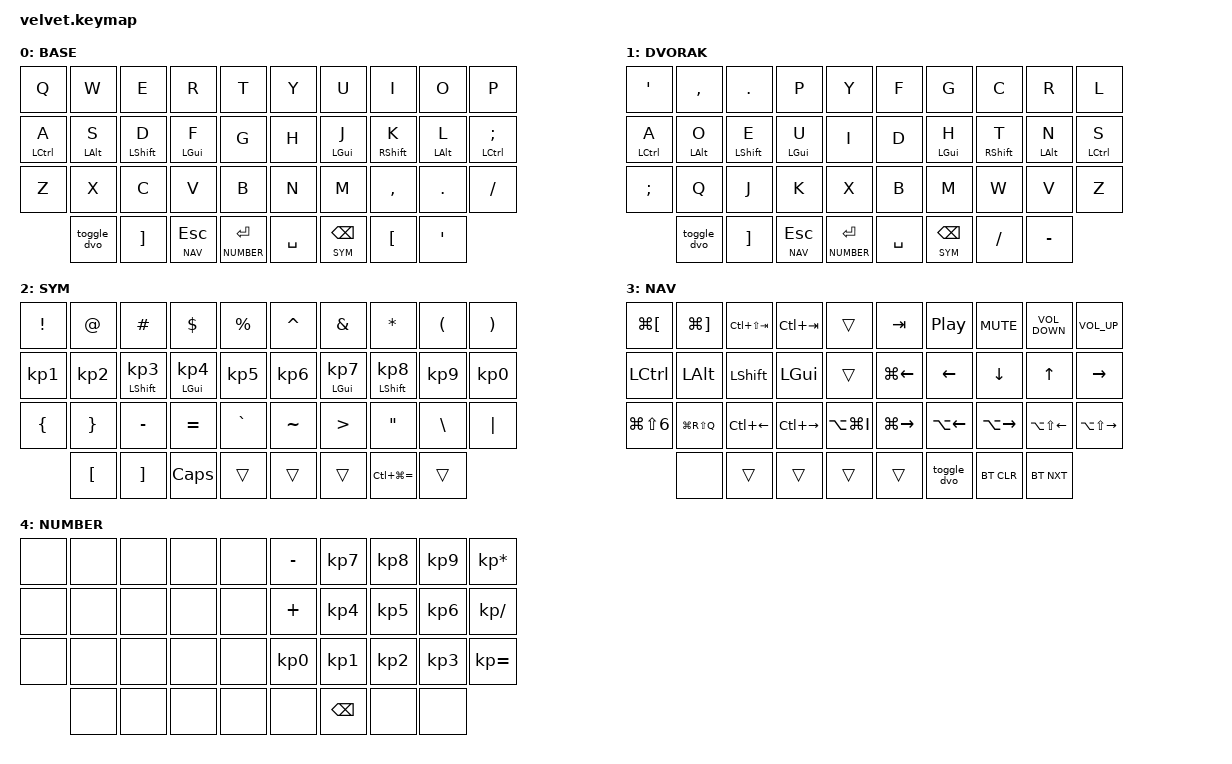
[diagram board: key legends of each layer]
#include <behaviors.dtsi>
#include <dt-bindings/zmk/bt.h>
#include <dt-bindings/zmk/keys.h>

#define BASE 0
#define DVORAK 1
#define SYM 2
#define NAV 3
#define NUMBER 4

&mt {
    tapping-term-ms = <300>;
    require-prior-idle-ms = <125>;
    quick-tap-ms = <200>;
};

&lt { tapping-term-ms = <125>; };

/ {
    behaviors {
        hm: homerow_mods {
            compatible = "zmk,behavior-hold-tap";
            #binding-cells = <2>;
            tapping-term-ms = <150>;
            quick-tap-ms = <0>;
            flavor = "tap-preferred";
            bindings = <&kp>, <&kp>;
        };

        // l_pht: left_positional_hold_tap {
        //     compatible = "zmk,behavior-hold-tap";
        //     #binding-cells = <2>;
        //     flavor = "tap-unless-interrupted";
        //     tapping-term-ms = <130>;                        // <---[[produces tap if held longer than tapping-term-ms]]
        //     quick-tap-ms = <200>;
        //     bindings = <&kp>, <&kp>;
        //     hold-trigger-key-positions = <5 6 7 8 9 5 6 7 8 9 15 16 17 18 19 25 26 27 28 29 34 35 36 37>;
        // };
        // r_pht: right_positional_hold_tap {
        //     compatible = "zmk,behavior-hold-tap";
        //     #binding-cells = <2>;
        //     flavor = "tap-unless-interrupted";
        //     tapping-term-ms = <130>;                        // <---[[produces tap if held longer than tapping-term-ms]]
        //     quick-tap-ms = <200>;
        //     bindings = <&kp>, <&kp>;
        //     hold-trigger-key-positions = <0 1 2 3 4 0 1 2 3 4 10 11 12 13 14 20 21 22 23 24 30 31 32 33>;
        // };
    };

    combos { compatible = "zmk,combos"; };

    macros {
        toggle_dvo: toggle_dvo {
            compatible = "zmk,behavior-macro";
            #binding-cells = <0>;
            bindings = <&macro_tap>, <&kp LC(SPACE) &tog 1>;

            label = "TOGGLE_DVO";
        };
    };

    keymap {
        compatible = "zmk,keymap";

        BASE {
            // ---------------------------------------------------------------------------------------------------------------------------------
            // |  Q  |  W  |  F   |  P   |  B   |    |  J   |  L   |  U  |  Y  |  '  |
            // |  A  |  R  |  S   |  T   |  G   |    |  M   |  N   |  E  |  I  |  O  |
            // |  Z  |  X  |  C   |  D   |  V   |    |  K   |  H   |  ,  |  .  |  /  |
            //       | TAB |  `   |  ESC | Enter|    | space| BSPC |  [  |  '  |

            bindings = <
&kp Q        &kp W           &kp E         &kp R        &kp T               &kp Y      &kp U         &kp I         &kp O           &kp P
&hm LCTRL A  &hm LEFT_ALT S  &hm LSHIFT D  &hm LGUI F   &kp G               &kp H      &hm LGUI J    &hm RSHIFT K  &hm LEFT_ALT L  &hm LCTRL SEMI
&kp Z        &kp X           &kp C         &kp V        &kp B               &kp N      &kp M         &kp COMMA     &kp DOT         &kp FSLH
             &toggle_dvo     &kp RBKT      &lt NAV ESC  &lt NUMBER ENTER    &kp SPACE  &lt SYM BSPC  &kp LBKT      &kp SQT
            >;
        };

        DVORAK {
            bindings = <
&kp SQT      &kp COMMA       &kp DOT       &kp P        &kp Y               &kp F      &kp G         &kp C         &kp R           &kp L
&hm LCTRL A  &hm LEFT_ALT O  &hm LSHIFT E  &hm LGUI U   &kp I               &kp D      &hm LGUI H    &hm RSHIFT T  &hm LEFT_ALT N  &hm LCTRL S
&kp SEMI     &kp Q           &kp J         &kp K        &kp X               &kp B      &kp M         &kp W         &kp V           &kp Z
             &toggle_dvo     &kp RBKT      &lt NAV ESC  &lt NUMBER ENTER    &kp SPACE  &lt SYM BSPC  &kp FSLH      &kp MINUS
            >;
        };

        SYM {
            bindings = <
&kp EXCL   &kp AT     &kp POUND         &kp DLLR        &kp PRCNT    &kp CARET  &kp AMPS        &kp STAR           &kp LPAR   &kp RPAR
&kp KP_N1  &kp KP_N2  &mt LSHIFT KP_N3  &mt LGUI KP_N4  &kp KP_N5    &kp KP_N6  &mt LGUI KP_N7  &mt LSHIFT KP_N8   &kp KP_N9  &kp KP_N0
&kp LBRC   &kp RBRC   &kp MINUS         &kp EQUAL       &kp GRAVE    &kp TILDE  &kp GT          &kp DQT            &kp BSLH   &kp PIPE
           &kp LBKT   &kp RBKT          &kp CAPSLOCK    &trans       &trans     &trans          &kp LC(LG(EQUAL))  &trans
            >;
        };

        NAV {
            bindings = <
&kp LG(LBKT)          &kp LG(RBKT)   &kp LC(LS(TAB))  &kp LC(TAB)    &trans           &kp TAB        &kp C_PP      &kp K_MUTE     &kp C_VOLUME_DOWN  &kp C_VOLUME_UP
&kp LCTRL             &kp LALT       &kp LSHIFT       &kp LGUI       &trans           &kp LG(LEFT)   &kp LEFT      &kp DOWN       &kp UP             &kp RIGHT
&kp LG(LS(NUMBER_6))  &kp LG(RS(Q))  &kp LC(LEFT)     &kp LC(RIGHT)  &kp LA(LG(I))    &kp LG(RIGHT)  &kp LA(LEFT)  &kp LA(RIGHT)  &kp LA(LS(LEFT))   &kp LA(LS(RIGHT))
                      &none          &trans           &trans         &trans           &trans         &toggle_dvo   &bt BT_CLR     &bt BT_NXT
            >;
        };

        NUMBER {
            bindings = <
&none  &none  &none  &none  &none    &kp MINUS  &kp KP_N7      &kp KP_N8  &kp KP_N9  &kp KP_MULTIPLY
&none  &none  &none  &none  &none    &kp PLUS   &kp KP_N4      &kp KP_N5  &kp KP_N6  &kp KP_DIVIDE
&none  &none  &none  &none  &none    &kp KP_N0  &kp KP_N1      &kp KP_N2  &kp KP_N3  &kp KP_EQUAL
       &none  &none  &none  &none    &none      &kp BACKSPACE  &none      &none
            >;
        };
    };
};

/*
            binding = <
&none    &none      &none     &none      &none        &none      &none     &none     &none     &none
&none    &none      &none     &none      &none        &none      &none     &none     &none     &none 
&none    &none      &none     &none      &none        &none      &none     &none     &none     &none
         &none      &none     &none      &none        &none      &none     &none     &none
            >;
*/
